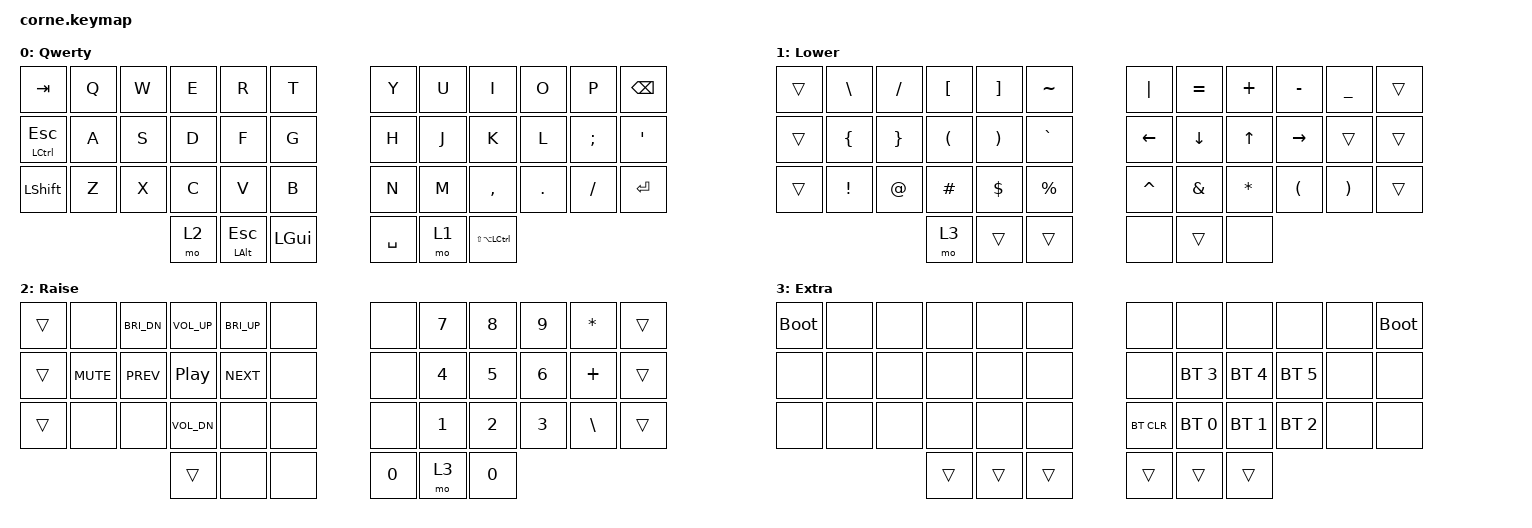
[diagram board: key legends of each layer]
/*
 * Copyright (c) 2020 The ZMK Contributors
 *
 * SPDX-License-Identifier: MIT
 */

#include <behaviors.dtsi>
#include <dt-bindings/zmk/keys.h>
#include <dt-bindings/zmk/bt.h>

#define HYPER LS(LA(LCTRL))

/ {
  chosen {
    zmk,matrix_transform = &default_transform;
    //zmk,matrix_transform = &five_column_transform;
  };
};

/ {
        keymap {
                compatible = "zmk,keymap";

                default_layer {
                        label = "Qwerty";
                        bindings = <
           &kp TAB   &kp Q   &kp W   &kp E   &kp R          &kp T                             &kp Y       &kp U       &kp I     &kp O      &kp P    &kp BSPC
     &mt LCTRL ESC   &kp A   &kp S   &kp D   &kp F          &kp G                             &kp H       &kp J       &kp K     &kp L   &kp SEMI     &kp SQT
         &kp LSHFT   &kp Z   &kp X   &kp C   &kp V          &kp B                             &kp N       &kp M   &kp COMMA   &kp DOT   &kp FSLH   &kp ENTER
                                             &mo 2   &mt LALT ESC   &kp LGUI      &kp SPACE   &mo 1   &kp HYPER
                        >;
                };
                
                lower_layer {
                        label = "Lower";
                        bindings = <
     &trans   &kp BSLH   &kp FSLH   &kp LBKT   &kp RBKT   &kp TILDE                       &kp PIPE   &kp EQUAL    &kp PLUS   &kp MINUS   &kp UNDER   &trans
     &trans   &kp LBRC   &kp RBRC   &kp LPAR   &kp RPAR   &kp GRAVE                       &kp LEFT    &kp DOWN      &kp UP   &kp RIGHT      &trans   &trans
     &trans   &kp EXCL     &kp AT   &kp HASH   &kp DLLR   &kp PRCNT                      &kp CARET    &kp AMPS   &kp ASTRK    &kp LPAR    &kp RPAR   &trans
                                                  &mo 3      &trans   &trans     &none      &trans       &none
                        >;
                };

                raise_layer {
                        label = "Raise";
                        bindings = <
     &trans        &none   &kp C_BRI_DN   &kp C_VOL_UP   &kp C_BRI_UP   &none                       &none   &kp N7   &kp N8   &kp N9   &kp ASTRK   &trans
     &trans   &kp C_MUTE     &kp C_PREV       &kp C_PP     &kp C_NEXT   &none                       &none   &kp N4   &kp N5   &kp N6    &kp PLUS   &trans
     &trans        &none          &none   &kp C_VOL_DN          &none   &none                       &none   &kp N1   &kp N2   &kp N3    &kp BSLH   &trans
                                                               &trans   &none   &none      &kp N0   &mo 3   &kp N0 
                        >;
                };

                dual_layer {
                        label = "Extra";
                        bindings = <
&bootloader   &none   &none   &none    &none   &none                              &none          &none          &none          &none   &none   &bootloader
     &none   &none   &none   &none    &none   &none                              &none   &bt BT_SEL 3   &bt BT_SEL 4   &bt BT_SEL 5   &none   &none
     &none   &none   &none   &none    &none   &none                         &bt BT_CLR   &bt BT_SEL 0   &bt BT_SEL 1   &bt BT_SEL 2   &none   &none
                                     &trans   &trans   &trans      &trans       &trans         &trans
                        >;
                };
        };
};

// -----------------------------------------------------------------------------------------
// |  TAB |  Q  |  W  |  E  |  R  |  T  |   |  Y  |  U   |  I  |  O  |  P  | BSPC |
// | CTRL |  A  |  S  |  D  |  F  |  G  |   |  H  |  J   |  K  |  L  |  ;  |  '   |
// | SHFT |  Z  |  X  |  C  |  V  |  B  |   |  N  |  M   |  ,  |  .  |  /  | ESC  |
//                    | GUI | LWR | SPC |   | ENT | RSE  | ALT |
// -----------------------------------------------------------------------------------------
// |  TAB |  1  |  2  |  3  |  4  |  5  |   |  6  |  7  |  8  |  9  |  0  | BSPC |
// | BTCLR| BT1 | BT2 | BT3 | BT4 | BT5 |   | LFT | DWN |  UP | RGT |     |      |
// | SHFT |     |     |     |     |     |   |     |     |     |     |     |      |
//                    | GUI |     | SPC |   | ENT |     | ALT |
// -----------------------------------------------------------------------------------------
// |  TAB |  !  |  @  |  #  |  $  |  %  |   |  ^  |  &  |  *  |  (  |  )  | BSPC |
// | CTRL |     |     |     |     |     |   |  -  |  =  |  [  |  ]  |  \  |  `   |
// | SHFT |     |     |     |     |     |   |  _  |  +  |  {  |  }  | "|" |  ~   |
//                    | GUI |     | SPC |   | ENT |     | ALT |
// -----------------------------------------------------------------------------------------
// |  TAB |  !  |  @  |  #  |  $  |  %  |   |  ^  |  &  |  *  |  (  |  )  | BSPC |
// | CTRL |     |     |     |     |     |   |  -  |  =  |  [  |  ]  |  \  |  `   |
// | SHFT |     |     |     |     |     |   |  _  |  +  |  {  |  }  | "|" |  ~   |
//                    | GUI |     | SPC |   | ENT |     | ALT |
